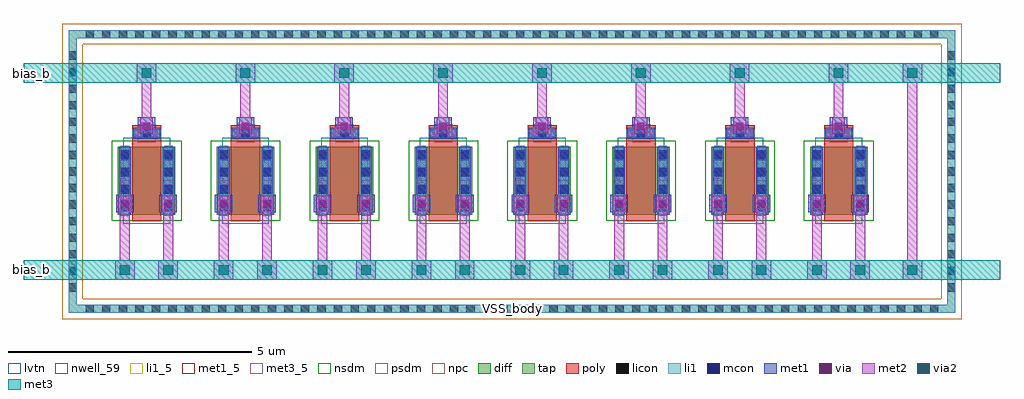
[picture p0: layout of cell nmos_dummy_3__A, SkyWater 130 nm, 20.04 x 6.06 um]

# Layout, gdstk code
import gdstk
lib = gdstk.Library(unit=1e-6, precision=1e-09)
def R(c, l, rs):  # rectangles x0, y0, x1, y1
    for r in rs: c.add(gdstk.rectangle(r[:2], r[2:], *l))
def A(c, l, x, y, w, h, nx, ny, dx, dy):  # array of equal rectangles
    R(c, l, [(x+i*dx, y+j*dy, x+i*dx+w, y+j*dy+h) for i in range(nx) for j in range(ny)])
nwell_59 = (64, 59)
diff = (65, 20)
tap = (65, 44)
poly = (66, 20)
licon = (66, 44)
li1_5 = (67, 5)
li1 = (67, 20)
mcon = (67, 44)
met1_5 = (68, 5)
met1 = (68, 20)
via = (68, 44)
met2 = (69, 20)
via2 = (69, 44)
met3_5 = (70, 5)
met3 = (70, 20)
nsdm = (93, 44)
psdm = (94, 20)
npc = (95, 20)
lvtn = (125, 44)

sky130_fd_pr__nfet_01v8_ = lib.new_cell('sky130_fd_pr__nfet_01v8_lvt_RUA5M6')
R(sky130_fd_pr__nfet_01v8_, diff, [(-0.59,-0.855,0.59,0.545)])
R(sky130_fd_pr__nfet_01v8_, poly, [(-0.3,-0.985,0.3,0.985)])
A(sky130_fd_pr__nfet_01v8_, licon, -0.53, -0.75, 0.17, 0.17, 1, 4, 0, 0.34)
A(sky130_fd_pr__nfet_01v8_, licon, 0.36, -0.75, 0.17, 0.17, 1, 4, 0, 0.34)
R(sky130_fd_pr__nfet_01v8_, licon, [(-0.085,0.735,0.085,0.905)])
R(sky130_fd_pr__nfet_01v8_, li1, [(-0.53,-0.875,-0.36,0.565), (0.36,-0.875,0.53,0.565), (-0.3,0.735,0.3,0.905)])
A(sky130_fd_pr__nfet_01v8_, mcon, -0.53, -0.78, 0.17, 0.17, 1, 4, 0, 0.36)
A(sky130_fd_pr__nfet_01v8_, mcon, 0.36, -0.78, 0.17, 0.17, 1, 4, 0, 0.36)
R(sky130_fd_pr__nfet_01v8_, mcon, [(-0.085,0.735,0.085,0.905)])
R(sky130_fd_pr__nfet_01v8_, met1, [(-0.56,-0.855,-0.33,0.545), (0.33,-0.855,0.56,0.545), (-0.28,0.705,0.28,0.935)])
R(sky130_fd_pr__nfet_01v8_, nsdm, [(-0.715,-0.98,0.715,0.67)])
R(sky130_fd_pr__nfet_01v8_, npc, [(-0.185,0.635,0.185,1.005)])
R(sky130_fd_pr__nfet_01v8_, lvtn, [(-0.48,-1.035,0.48,0.725)])
sky130_fd_pr__nfet_01v8_.add(gdstk.Label('D', (-0.445,-0.155), layer=67, texttype=5))
sky130_fd_pr__nfet_01v8_.add(gdstk.Label('S', (0.445,-0.155), layer=67, texttype=5))
sky130_fd_pr__nfet_01v8_.add(gdstk.Label('G', (0,0.82), layer=67, texttype=5))

nfet_01v8_lvt_w1p4_l0p6_ = lib.new_cell('nfet_01v8_lvt_W1p4_L0p6_m8__nf1_gtop_sdfull_ng')
R(nfet_01v8_lvt_w1p4_l0p6_, nwell_59, [(0.05,0.78,0.15,0.88)])
R(nfet_01v8_lvt_w1p4_l0p6_, met1_5, [(0.03,0.83,0.26,1.03), (0.92,0.83,1.15,1.03), (0.31,1.69,0.87,1.92)])
R(nfet_01v8_lvt_w1p4_l0p6_, met1, [(0.03,0.83,0.26,1.03), (0.92,0.83,1.15,1.03), (0.31,1.69,0.87,1.92)])
nfet_01v8_lvt_w1p4_l0p6_.add(gdstk.Reference(sky130_fd_pr__nfet_01v8_, (0.59,0.985)))
nfet_01v8_lvt_w1p4_l0p6_.add(gdstk.Label('D', (0.145,0.93), layer=68, texttype=5))
nfet_01v8_lvt_w1p4_l0p6_.add(gdstk.Label('S', (1.035,0.93), layer=68, texttype=5))
nfet_01v8_lvt_w1p4_l0p6_.add(gdstk.Label('G', (0.59,1.805), layer=68, texttype=5))
nfet_01v8_lvt_w1p4_l0p6_.add(gdstk.Label('B', (0.1,0.83), layer=64, texttype=59))

nmos_dummy_3__a = lib.new_cell('nmos_dummy_3__A')
R(nmos_dummy_3__a, tap, [(-0.885,-1.885,17.325,-1.715), (-0.885,-1.715,-0.715,3.755), (17.155,-1.715,17.325,3.755), (-0.885,3.755,17.325,3.925)])
A(nmos_dummy_3__a, licon, -0.535, -1.885, 0.17, 0.17, 52, 2, 0.34, 5.64)
A(nmos_dummy_3__a, licon, -0.885, -1.445, 0.17, 0.17, 1, 15, 0, 0.34)
A(nmos_dummy_3__a, licon, 17.155, -1.445, 0.17, 0.17, 1, 15, 0, 0.34)
R(nmos_dummy_3__a, li1_5, [(8.17,-1.85,8.27,-1.75)])
R(nmos_dummy_3__a, li1, [(-0.885,-1.885,17.325,-1.715), (-0.885,-1.715,-0.715,3.755), (17.155,-1.715,17.325,3.755), (-0.885,3.755,17.325,3.925)])
A(nmos_dummy_3__a, met1, 0.535, 1.77, 0.36, 0.36, 8, 1, 2.03, 0)
R(nmos_dummy_3__a, met1, [(0.09,0.18,0.45,0.54), (0.98,0.18,1.34,0.54), (2.12,0.18,2.48,0.54), (3.01,0.18,3.37,0.54), (4.15,0.18,4.51,0.54), (5.04,0.18,5.4,0.54), (6.18,0.18,6.54,0.54), (7.07,0.18,7.43,0.54), (8.21,0.18,8.57,0.54), (9.1,0.18,9.46,0.54), (10.24,0.18,10.6,0.54), (11.13,0.18,11.49,0.54), (12.27,0.18,12.63,0.54), (13.16,0.18,13.52,0.54), (14.3,0.18,14.66,0.54), (15.19,0.18,15.55,0.54)])
A(nmos_dummy_3__a, via, 0.64, 1.875, 0.15, 0.15, 8, 1, 2.03, 0)
R(nmos_dummy_3__a, via, [(0.195,0.285,0.345,0.435), (1.085,0.285,1.235,0.435), (2.225,0.285,2.375,0.435), (3.115,0.285,3.265,0.435), (4.255,0.285,4.405,0.435), (5.145,0.285,5.295,0.435), (6.285,0.285,6.435,0.435), (7.175,0.285,7.325,0.435), (8.315,0.285,8.465,0.435), (9.205,0.285,9.355,0.435), (10.345,0.285,10.495,0.435), (11.235,0.285,11.385,0.435), (12.375,0.285,12.525,0.435), (13.265,0.285,13.415,0.435), (14.405,0.285,14.555,0.435), (15.295,0.285,15.445,0.435)])
A(nmos_dummy_3__a, met2, 0.585, 1.79, 0.26, 0.32, 8, 1, 2.03, 0)
A(nmos_dummy_3__a, met2, 0.615, 2.11, 0.2, 0.73, 8, 1, 2.03, 0)
A(nmos_dummy_3__a, met2, 0.515, 2.84, 0.4, 0.4, 8, 1, 2.03, 0)
R(nmos_dummy_3__a, met2, [(0.07,-1.2,0.47,-0.8), (0.96,-1.2,1.36,-0.8), (2.1,-1.2,2.5,-0.8), (2.99,-1.2,3.39,-0.8), (4.13,-1.2,4.53,-0.8), (5.02,-1.2,5.42,-0.8), (6.16,-1.2,6.56,-0.8), (7.05,-1.2,7.45,-0.8), (8.19,-1.2,8.59,-0.8), (9.08,-1.2,9.48,-0.8), (10.22,-1.2,10.62,-0.8), (11.11,-1.2,11.51,-0.8), (12.25,-1.2,12.65,-0.8), (13.14,-1.2,13.54,-0.8), (14.28,-1.2,14.68,-0.8), (15.17,-1.2,15.57,-0.8), (16.24,-1.2,16.64,-0.8), (0.17,-0.8,0.37,0.2), (1.06,-0.8,1.26,0.2), (2.2,-0.8,2.4,0.2), (3.09,-0.8,3.29,0.2), (4.23,-0.8,4.43,0.2), (5.12,-0.8,5.32,0.2), (6.26,-0.8,6.46,0.2), (7.15,-0.8,7.35,0.2), (8.29,-0.8,8.49,0.2), (9.18,-0.8,9.38,0.2), (10.32,-0.8,10.52,0.2), (11.21,-0.8,11.41,0.2), (12.35,-0.8,12.55,0.2), (13.24,-0.8,13.44,0.2), (14.38,-0.8,14.58,0.2), (15.27,-0.8,15.47,0.2), (16.34,-0.8,16.54,2.84), (0.14,0.2,0.4,0.52), (1.03,0.2,1.29,0.52), (2.17,0.2,2.43,0.52), (3.06,0.2,3.32,0.52), (4.2,0.2,4.46,0.52), (5.09,0.2,5.35,0.52), (6.23,0.2,6.49,0.52), (7.12,0.2,7.38,0.52), (8.26,0.2,8.52,0.52), (9.15,0.2,9.41,0.52), (10.29,0.2,10.55,0.52), (11.18,0.2,11.44,0.52), (12.32,0.2,12.58,0.52), (13.21,0.2,13.47,0.52), (14.35,0.2,14.61,0.52), (15.24,0.2,15.5,0.52), (16.24,2.84,16.64,3.24)])
A(nmos_dummy_3__a, via2, 0.615, 2.94, 0.2, 0.2, 8, 1, 2.03, 0)
R(nmos_dummy_3__a, via2, [(0.17,-1.1,0.37,-0.9), (1.06,-1.1,1.26,-0.9), (2.2,-1.1,2.4,-0.9), (3.09,-1.1,3.29,-0.9), (4.23,-1.1,4.43,-0.9), (5.12,-1.1,5.32,-0.9), (6.26,-1.1,6.46,-0.9), (7.15,-1.1,7.35,-0.9), (8.29,-1.1,8.49,-0.9), (9.18,-1.1,9.38,-0.9), (10.32,-1.1,10.52,-0.9), (11.21,-1.1,11.41,-0.9), (12.35,-1.1,12.55,-0.9), (13.24,-1.1,13.44,-0.9), (14.38,-1.1,14.58,-0.9), (15.27,-1.1,15.47,-0.9), (16.34,-1.1,16.54,-0.9), (16.34,2.94,16.54,3.14)])
R(nmos_dummy_3__a, met3_5, [(-1.7,-1.05,-1.6,-0.95), (-1.7,2.99,-1.6,3.09)])
R(nmos_dummy_3__a, met3, [(-1.8,-1.2,18.24,-0.8), (-1.8,2.84,18.24,3.24)])
R(nmos_dummy_3__a, psdm, [(-1.01,-2.01,17.45,-1.59), (-1.01,-1.59,-0.59,3.63), (17.03,-1.59,17.45,3.63), (-1.01,3.63,17.45,4.05)])
nmos_dummy_3__a.add(gdstk.Reference(nfet_01v8_lvt_w1p4_l0p6_, (14.34,0)))
nmos_dummy_3__a.add(gdstk.Reference(nfet_01v8_lvt_w1p4_l0p6_, (12.31,0)))
nmos_dummy_3__a.add(gdstk.Reference(nfet_01v8_lvt_w1p4_l0p6_, (10.28,0)))
nmos_dummy_3__a.add(gdstk.Reference(nfet_01v8_lvt_w1p4_l0p6_, (8.25,0)))
nmos_dummy_3__a.add(gdstk.Reference(nfet_01v8_lvt_w1p4_l0p6_, (6.22,0)))
nmos_dummy_3__a.add(gdstk.Reference(nfet_01v8_lvt_w1p4_l0p6_, (4.19,0)))
nmos_dummy_3__a.add(gdstk.Reference(nfet_01v8_lvt_w1p4_l0p6_, (2.16,0)))
nmos_dummy_3__a.add(gdstk.Reference(nfet_01v8_lvt_w1p4_l0p6_, (0.13,0)))
nmos_dummy_3__a.add(gdstk.Label('bias_b', (-1.65,3.04), layer=70, texttype=5))
nmos_dummy_3__a.add(gdstk.Label('bias_b', (-1.65,-1), layer=70, texttype=5))
nmos_dummy_3__a.add(gdstk.Label('VSS_body', (8.22,-1.8), layer=67, texttype=5))

lib.write_gds('nmos_dummy_3__A.gds')
